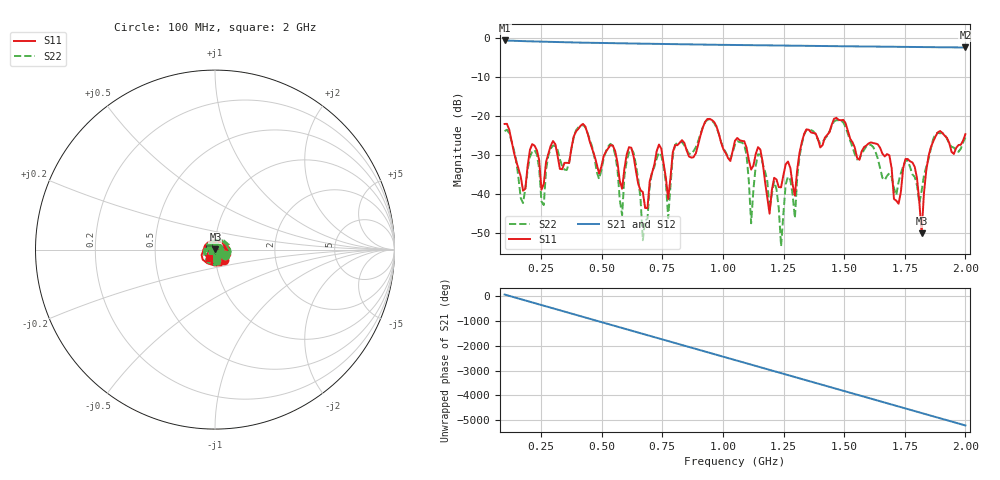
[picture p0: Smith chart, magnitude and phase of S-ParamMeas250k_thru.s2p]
!Keysight Technologies,N5242B,MY48420967,A.15.65.19
!Date: Saturday, December 17, 2022 23:11:37
!Correction: S11(C  2-Port  )
!S21(C  2-Port  )
!S12(C  2-Port  )
!S22(C  2-Port  )
!S2P File: Measurements: S11, S21, S12, S22:
# Hz S  dB  R 50
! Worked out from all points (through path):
!   201 points, 100 MHz to 2 GHz, reference 50 ohm
!   highest |S21| = -0.71 dB at 100 MHz (marker M1); lowest = -2.5 dB at 2 GHz (marker M2)
!   group delay of S21, straight-line fit = 7.75 ns
!   lowest |S11| = -50.2 dB at 1.819 GHz (marker M3), VSWR 1.01, Z = 50.2 + j0.22 ohm
!   |S11| at or under -10 dB: start of sweep to end of sweep
!   |S22| runs from -53.5 to -21.0 dB; largest |S21 - S12| = 0.0004
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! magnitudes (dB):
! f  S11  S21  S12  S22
! 100 MHz  -22.1  -0.7  -0.7  -23.9
! 261.5 MHz  -37.5  -1.0  -1.0  -42.9
! 423 MHz  -22.1  -1.3  -1.3  -22.4
! 546.5 MHz  -27.7  -1.4  -1.4  -27.9
! 584.5 MHz  -38.7  -1.4  -1.5  -45.5
! 632 MHz  -30.5  -1.5  -1.5  -29.6
! 670 MHz  -39.6  -1.5  -1.5  -51.9
! 736.5 MHz  -27.4  -1.6  -1.6  -29.4
! 774.5 MHz  -41.4  -1.6  -1.6  -46.3
! 803 MHz  -27.6  -1.7  -1.7  -27.5
! 1.05 GHz  -26.4  -1.9  -1.9  -27.4
! 1.097 GHz  -28.1  -1.9  -1.9  -30.1
! 1.117 GHz  -33.8  -1.9  -1.9  -47.6
! 1.145 GHz  -28.1  -1.9  -2.0  -29.9
! 1.212 GHz  -35.9  -2.0  -2.0  -36.8
! 1.24 GHz  -38.4  -2.0  -2.0  -53.5
! 1.373 GHz  -24.4  -2.1  -2.1  -24.0
! 1.687 GHz  -30.2  -2.3  -2.3  -34.8
! 1.791 GHz  -33.1  -2.4  -2.4  -35.7
! 1.819 GHz  -50.2  -2.4  -2.4  -39.3
! 1.867 GHz  -26.7  -2.4  -2.4  -26.0
! 2 GHz  -24.7  -2.5  -2.5  -25.6
